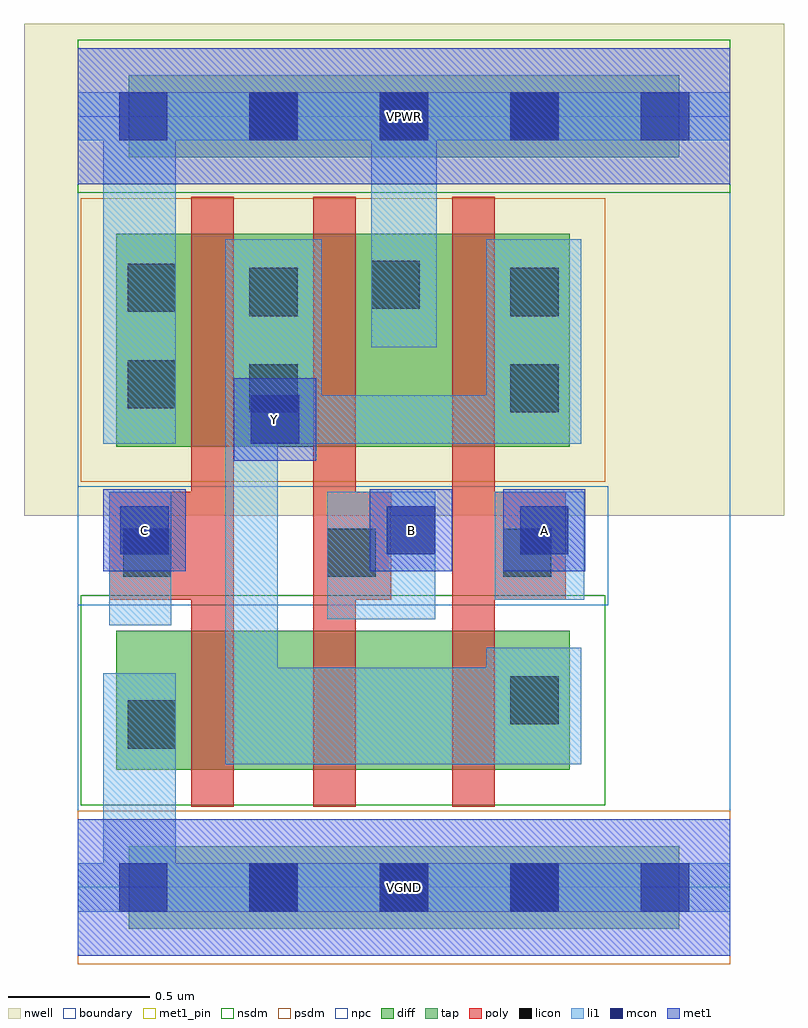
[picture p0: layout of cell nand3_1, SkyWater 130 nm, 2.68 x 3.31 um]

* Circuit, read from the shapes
.subckt nand3_1 A B C VGND VPWR Y
XM1 n1 C VGND VGND sky130_fd_pr__nfet_01v8 w=0.49 l=0.15
XM2 n2 B n1 VGND sky130_fd_pr__nfet_01v8 w=0.49 l=0.15
XM3 Y A n2 VGND sky130_fd_pr__nfet_01v8 w=0.49 l=0.15
XM4 Y C VPWR VPWR sky130_fd_pr__pfet_01v8 w=0.75 l=0.15
XM5 VPWR B Y VPWR sky130_fd_pr__pfet_01v8 w=0.75 l=0.15
XM6 Y A VPWR VPWR sky130_fd_pr__pfet_01v8 w=0.75 l=0.15
.ends

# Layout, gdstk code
import gdstk
lib = gdstk.Library(unit=1e-6, precision=1e-09)
def R(c, l, rs):  # rectangles x0, y0, x1, y1
    for r in rs: c.add(gdstk.rectangle(r[:2], r[2:], *l))
def A(c, l, x, y, w, h, nx, ny, dx, dy):  # array of equal rectangles
    R(c, l, [(x+i*dx, y+j*dy, x+i*dx+w, y+j*dy+h) for i in range(nx) for j in range(ny)])
nwell = (64, 20)
diff = (65, 20)
tap = (65, 44)
poly = (66, 20)
licon = (66, 44)
li1 = (67, 20)
mcon = (67, 44)
met1_pin = (68, 16)
met1 = (68, 20)
nsdm = (93, 44)
psdm = (94, 20)
npc = (95, 20)
boundary = (235, 4)

nand3_1 = lib.new_cell('nand3_1')
R(nand3_1, nwell, [(-0.19,1.31,2.49,3.045), (0,1.31,2.3,3.045)])
R(nand3_1, diff, [(0.135,0.415,1.735,0.905), (0.135,1.555,1.735,2.305)])
R(nand3_1, tap, [(0.18,-0.145,2.12,0.145), (0.18,2.575,2.12,2.865)])
R(nand3_1, poly, [(0.4,0.285,0.55,2.435), (0.83,0.285,0.98,2.435), (1.32,0.285,1.47,2.435), (0.11,1.015,0.55,1.395), (0.83,1.015,1.105,1.395), (1.32,1.015,1.72,1.395)])
A(nand3_1, licon, 0.605, -0.085, 0.17, 0.17, 3, 2, 0.46, 2.72)
R(nand3_1, licon, [(0.175,0.49,0.345,0.66), (1.525,0.575,1.695,0.745), (0.16,1.095,0.33,1.265), (0.88,1.095,1.05,1.265), (1.5,1.095,1.67,1.265), (0.605,1.675,0.775,1.845), (1.525,1.675,1.695,1.845), (0.175,1.69,0.345,1.86), (0.605,2.015,0.775,2.185), (1.525,2.015,1.695,2.185), (0.175,2.03,0.345,2.2), (1.035,2.04,1.205,2.21)])
R(nand3_1, li1, [(0,-0.085,2.3,0.085), (0.09,-0.085,0.345,0.755), (0.52,0.435,1.775,0.775), (0.52,0.435,0.705,2.285), (1.44,0.435,1.775,0.845), (0.11,0.925,0.33,1.395), (0.88,0.945,1.26,1.395), (1.47,1.015,1.785,1.395), (0.09,1.565,0.345,2.805), (0.52,1.565,0.86,2.285), (0.52,1.565,1.775,1.735), (1.44,1.565,1.775,2.285), (1.035,1.905,1.265,2.805), (0,2.635,2.3,2.805)])
A(nand3_1, mcon, 0.145, -0.085, 0.17, 0.17, 5, 2, 0.46, 2.72)
R(nand3_1, mcon, [(0.15,1.175,0.32,1.345), (1.09,1.175,1.26,1.345), (1.56,1.175,1.73,1.345), (0.61,1.565,0.78,1.735)])
R(nand3_1, met1_pin, [(0,-0.24,2.3,0.24), (0.09,1.115,0.38,1.405), (1.03,1.115,1.32,1.405), (1.5,1.115,1.79,1.405), (0.55,1.505,0.84,1.795), (0,2.48,2.3,2.96)])
R(nand3_1, met1, [(0,-0.24,2.3,0.24), (0.09,1.115,0.38,1.405), (1.03,1.115,1.32,1.405), (1.5,1.115,1.79,1.405), (0.55,1.505,0.84,1.795), (0,2.48,2.3,2.96)])
R(nand3_1, nsdm, [(0.01,0.29,1.86,1.03), (0,2.45,2.3,2.99)])
R(nand3_1, psdm, [(0,-0.27,2.3,0.27), (0.01,1.43,1.86,2.43)])
R(nand3_1, npc, [(0,0.995,1.87,1.415)])
R(nand3_1, boundary, [(0,0,2.3,2.72)])
nand3_1.add(gdstk.Label('A', (1.645,1.26), layer=68, texttype=5))
nand3_1.add(gdstk.Label('B', (1.175,1.26), layer=68, texttype=5))
nand3_1.add(gdstk.Label('C', (0.235,1.26), layer=68, texttype=5))
nand3_1.add(gdstk.Label('Y', (0.695,1.65), layer=68, texttype=5))
nand3_1.add(gdstk.Label('VPWR', (1.15,2.72), layer=68, texttype=5))
nand3_1.add(gdstk.Label('VGND', (1.15,0), layer=68, texttype=5))
nand3_1.add(gdstk.Label('A', (1.645,1.26), layer=68, texttype=16))
nand3_1.add(gdstk.Label('B', (1.175,1.26), layer=68, texttype=16))
nand3_1.add(gdstk.Label('C', (0.235,1.26), layer=68, texttype=16))
nand3_1.add(gdstk.Label('Y', (0.695,1.65), layer=68, texttype=16))
nand3_1.add(gdstk.Label('VPWR', (1.15,2.72), layer=68, texttype=16))
nand3_1.add(gdstk.Label('VGND', (1.15,0), layer=68, texttype=16))

lib.write_gds('nand3_1.gds')
